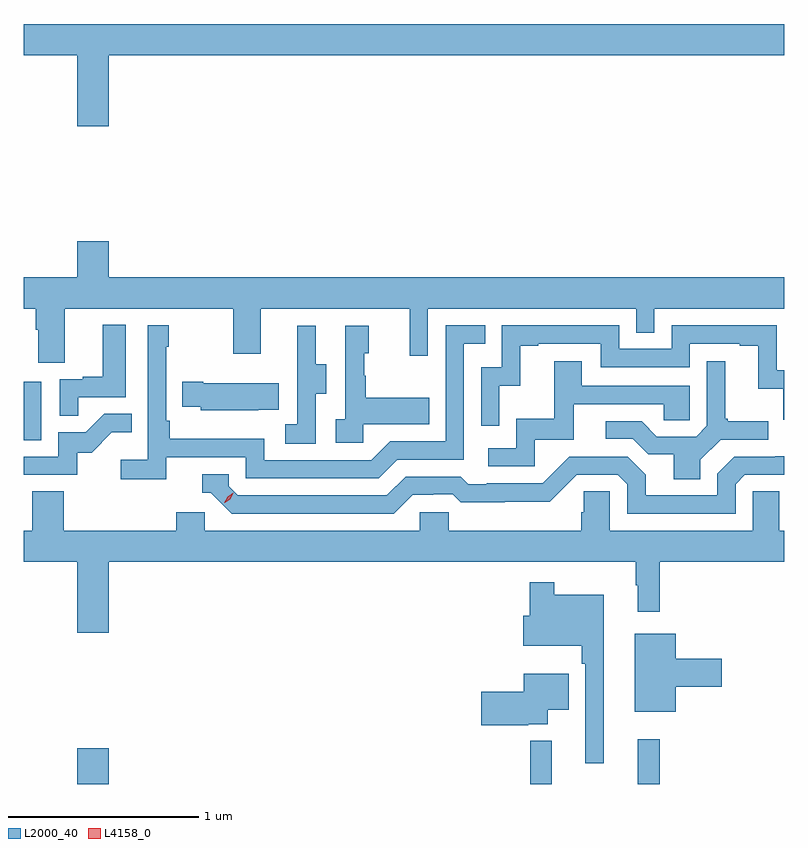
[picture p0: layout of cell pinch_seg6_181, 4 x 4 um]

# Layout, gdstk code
import gdstk
lib = gdstk.Library(unit=1e-6, precision=1e-09)
def R(c, l, rs):  # rectangles x0, y0, x1, y1
    for r in rs: c.add(gdstk.rectangle(r[:2], r[2:], *l))
def P(c, l, *ps):  # polygons
    for p in ps: c.add(gdstk.Polygon(p, *l))
L2000_40 = (2000, 40)
L4158_0 = (4158, 0)

pinch_seg6_181 = lib.new_cell('pinch_seg6_181')
R(pinch_seg6_181, L2000_40, [(1040.132,931.516,1040.296,931.705), (1042.512,931.516,1042.625,931.744), (1043.078,931.516,1043.195,931.75), (1039.849,933.324,1039.942,933.631)])
P(pinch_seg6_181, L2000_40, [(1040.296,935.348),(1043.849,935.348),(1043.849,935.512),(1039.849,935.512),(1039.849,935.348),(1040.132,935.348),(1040.132,934.974),(1040.296,934.974)],
  [(1040.065,934.016),(1040.95,934.016),(1040.95,933.777),(1041.097,933.777),(1041.097,934.016),(1041.878,934.016),(1041.878,933.768),(1041.975,933.768),(1041.975,934.016),(1043.07,934.016),(1043.07,933.889),(1043.166,933.889),(1043.166,934.016),(1043.849,934.016),(1043.849,934.18),(1040.296,934.18),(1040.296,934.369),(1040.132,934.369),(1040.132,934.18),(1039.849,934.18),(1039.849,934.016),(1039.913,934.016),(1039.913,933.904),(1039.925,933.904),(1039.925,933.73),(1040.065,933.73)],
  [(1040.135,933.549),(1040.386,933.549),(1040.386,933.931),(1040.264,933.931),(1040.264,933.658),(1040.161,933.658),(1040.161,933.645),(1040.04,933.645),(1040.04,933.451),(1040.135,933.451)],
  [(1040.6,933.234),(1041.018,933.234),(1041.018,933.123),(1041.715,933.123),(1041.814,933.222),(1042.164,933.222),(1042.164,933.831),(1042.277,933.831),(1042.277,933.927),(1042.068,933.927),(1042.068,933.318),(1041.777,933.318),(1041.678,933.219),(1041.114,933.219),(1041.114,933.331),(1040.618,933.331),(1040.618,933.427),(1040.598,933.427),(1040.598,933.815),(1040.611,933.815),(1040.611,933.928),(1040.502,933.928),(1040.502,933.22),(1040.361,933.22),(1040.361,933.118),(1040.6,933.118)],
  [(1042.35,933.611),(1042.46,933.611),(1042.46,933.819),(1042.555,933.819),(1042.555,933.831),(1042.884,933.831),(1042.884,933.708),(1043.352,933.708),(1043.352,933.831),(1043.615,933.831),(1043.615,933.819),(1043.711,933.819),(1043.711,933.593),(1043.844,933.593),(1043.844,933.432),(1043.849,933.432),(1043.849,933.691),(1043.808,933.691),(1043.808,933.927),(1043.256,933.927),(1043.256,933.804),(1042.98,933.804),(1042.98,933.927),(1042.362,933.927),(1042.362,933.708),(1042.254,933.708),(1042.254,933.399),(1042.35,933.399)],
  [(1041.636,933.407),(1041.983,933.407),(1041.983,933.547),(1041.649,933.547),(1041.649,933.662),(1041.639,933.662),(1041.639,933.78),(1041.664,933.78),(1041.664,933.925),(1041.54,933.925),(1041.54,933.434),(1041.489,933.434),(1041.489,933.309),(1041.636,933.309)],
  [(1041.384,933.568),(1041.439,933.568),(1041.439,933.723),(1041.385,933.723),(1041.385,933.925),(1041.287,933.925),(1041.287,933.711),(1041.288,933.711),(1041.288,933.407),(1041.225,933.407),(1041.225,933.304),(1041.384,933.304)],
  [(1042.536,933.327),(1042.741,933.327),(1042.741,933.513),(1043.215,933.513),(1043.215,933.429),(1043.352,933.429),(1043.352,933.609),(1042.783,933.609),(1042.783,933.739),(1042.639,933.739),(1042.639,933.436),(1042.44,933.436),(1042.44,933.282),(1042.293,933.282),(1042.293,933.186),(1042.536,933.186)],
  [(1043.407,933.22),(1043.514,933.327),(1043.764,933.327),(1043.764,933.424),(1043.551,933.424),(1043.551,933.436),(1043.539,933.436),(1043.539,933.739),(1043.442,933.739),(1043.442,933.399),(1043.385,933.342),(1043.179,933.342),(1043.098,933.423),(1042.911,933.423),(1042.911,933.33),(1043.052,933.33),(1043.132,933.25),(1043.267,933.25),(1043.267,933.118),(1043.407,933.118)],
  [(1041.083,933.485),(1041.191,933.485),(1041.191,933.622),(1040.794,933.622),(1040.794,933.63),(1040.683,933.63),(1040.683,933.5),(1040.781,933.5),(1040.781,933.482),(1041.083,933.482)],
  [(1040.13,933.258),(1040.206,933.258),(1040.313,933.365),(1040.417,933.365),(1040.417,933.464),(1040.274,933.464),(1040.176,933.366),(1040.031,933.366),(1040.031,933.237),(1039.849,933.237),(1039.849,933.141),(1040.13,933.141)],
  [(1041.895,933.036),(1042.002,933.036),(1042.002,933.039),(1042.105,933.039),(1042.147,932.997),(1042.38,932.997),(1042.38,932.999),(1042.616,932.999),(1042.758,933.141),(1042.974,933.141),(1043.022,933.093),(1043.022,932.937),(1043.592,932.937),(1043.592,933.093),(1043.64,933.141),(1043.849,933.141),(1043.849,933.239),(1043.802,933.239),(1043.802,933.237),(1043.586,933.237),(1043.496,933.147),(1043.496,933.033),(1043.119,933.033),(1043.119,933.143),(1043.025,933.237),(1042.719,933.237),(1042.578,933.096),(1042.285,933.096),(1042.285,933.093),(1042.186,933.093),(1042.147,933.132),(1041.858,933.132),(1041.759,933.033),(1040.976,933.033),(1040.928,933.081),(1040.928,933.144),(1040.789,933.144),(1040.789,933.048),(1040.832,933.048),(1040.943,932.937),(1041.796,932.937)],
  [(1040.296,932.684),(1043.067,932.684),(1043.067,932.561),(1043.078,932.561),(1043.078,932.421),(1043.195,932.421),(1043.195,932.684),(1043.849,932.684),(1043.849,932.848),(1043.821,932.848),(1043.821,933.056),(1043.682,933.056),(1043.682,932.848),(1042.932,932.848),(1042.932,933.056),(1042.795,933.056),(1042.795,932.946),(1042.781,932.946),(1042.781,932.848),(1042.083,932.848),(1042.083,932.946),(1041.933,932.946),(1041.933,932.848),(1040.802,932.848),(1040.802,932.946),(1040.651,932.946),(1040.651,932.848),(1040.06,932.848),(1040.06,933.056),(1039.895,933.056),(1039.895,932.848),(1039.849,932.848),(1039.849,932.684),(1040.132,932.684),(1040.132,932.31),(1040.296,932.31)],
  [(1042.9,932.512),(1042.639,932.512),(1042.639,932.578),(1042.51,932.578),(1042.51,932.401),(1042.476,932.401),(1042.476,932.243),(1042.783,932.243),(1042.783,932.147),(1042.803,932.147),(1042.803,931.626),(1042.9,931.626)],
  [(1043.278,932.027),(1043.521,932.027),(1043.521,932.174),(1043.278,932.174),(1043.278,932.305),(1043.063,932.305),(1043.063,931.895),(1043.278,931.895)],
  [(1042.502,931.829),(1042.606,931.829),(1042.606,931.907),(1042.714,931.907),(1042.714,932.095),(1042.478,932.095),(1042.478,932),(1042.254,932),(1042.254,931.824),(1042.502,931.824)])
P(pinch_seg6_181, L4158_0, [(1040.905,932.994),(1040.905,932.995),(1040.921,933.027),(1040.951,933.047),(1040.951,933.047),(1040.951,933.047),(1040.936,933.014),(1040.906,932.994)])

lib.write_gds('pinch_seg6_181.gds')
